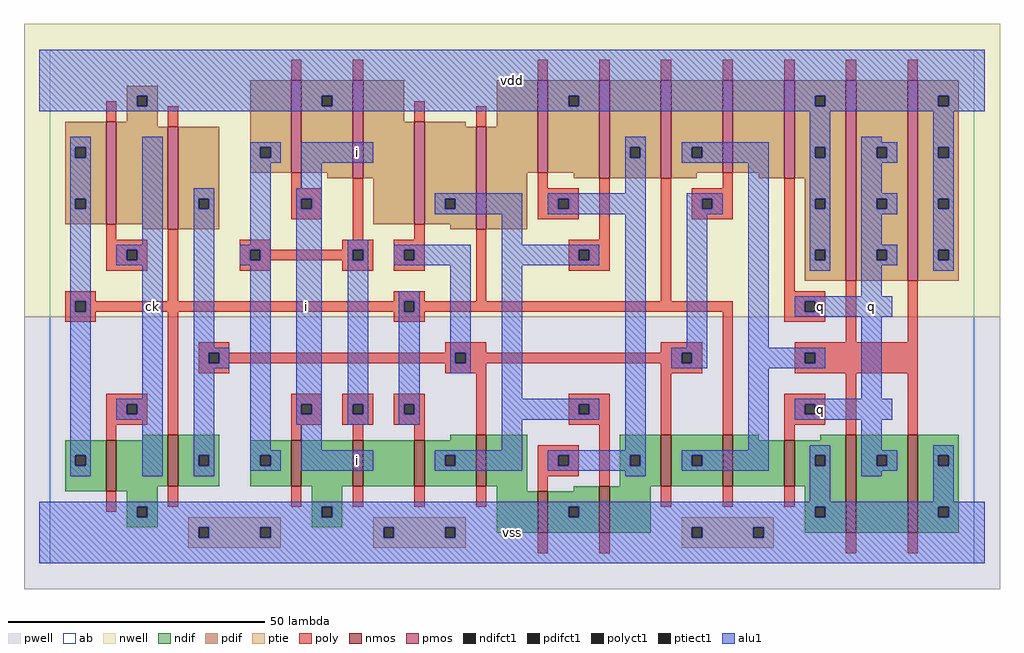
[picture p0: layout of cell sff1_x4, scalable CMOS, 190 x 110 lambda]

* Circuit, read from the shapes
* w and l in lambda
.subckt sff1_x4 ck i q vdd vss
M1 vss ck n1 vss nfet w=10 l=2
M2 n2 n1 vss vss nfet w=10 l=2
M3 vss i n3 vss nfet w=9 l=2
M4 n4 n3 vss vss nfet w=9 l=2
M5 n5 n1 n4 vss nfet w=9 l=2
M6 n6 n2 n5 vss nfet w=10 l=2
M7 vss n7 n6 vss nfet w=8 l=2
M8 n7 n5 vss vss nfet w=9 l=2
M9 n8 n2 n7 vss nfet w=10 l=2
M10 n9 n1 n8 vss nfet w=10 l=2
M11 vss q n9 vss nfet w=9 l=2
M12 q n8 vss vss nfet w=19 l=2 m=2
M13 vdd ck n1 n10 pfet w=20 l=2
M14 n2 n1 vdd n10 pfet w=20 l=2
M15 vdd i n3 n10 pfet w=18 l=2
M16 n11 n3 vdd n10 pfet w=19 l=2
M17 n5 n2 n11 n10 pfet w=20 l=2
M18 n12 n1 n5 n10 pfet w=20 l=2
M19 vdd n7 n12 n10 pfet w=18 l=2
M20 n7 n5 vdd n10 pfet w=19 l=2
M21 n8 n1 n7 n10 pfet w=19 l=2
M22 n13 n2 n8 n10 pfet w=18 l=2
M23 vdd q n13 n10 pfet w=19 l=2
M24 q n8 vdd n10 pfet w=39 l=2 m=2
.ends

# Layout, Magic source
magic
tech scmos
<< ab >>
rect 0 0 180 100
<< nwell >>
rect -5 48 185 105
<< pwell >>
rect -5 -5 185 48
<< poly >>
rect 47 94 49 98
rect 59 94 61 98
rect 95 94 97 98
rect 107 94 109 98
rect 119 94 121 98
rect 131 94 133 98
rect 143 94 145 98
rect 155 94 157 98
rect 167 94 169 98
rect 11 86 13 90
rect 23 85 25 89
rect 11 63 13 66
rect 47 73 49 76
rect 71 86 73 90
rect 47 71 53 73
rect 47 69 49 71
rect 51 69 53 71
rect 47 67 53 69
rect 11 61 19 63
rect 11 59 15 61
rect 17 59 19 61
rect 11 57 19 59
rect 3 51 9 53
rect 23 51 25 65
rect 59 63 61 75
rect 83 85 85 89
rect 71 63 73 66
rect 95 73 97 76
rect 95 71 103 73
rect 95 69 99 71
rect 101 69 103 71
rect 95 67 103 69
rect 37 61 43 63
rect 57 61 63 63
rect 37 59 39 61
rect 41 59 59 61
rect 61 59 63 61
rect 37 57 43 59
rect 57 57 63 59
rect 67 61 73 63
rect 67 59 69 61
rect 71 59 73 61
rect 67 57 73 59
rect 67 51 73 53
rect 83 51 85 65
rect 107 63 109 75
rect 101 61 109 63
rect 101 59 103 61
rect 105 59 109 61
rect 101 57 109 59
rect 119 51 121 75
rect 131 73 133 76
rect 125 71 133 73
rect 125 69 127 71
rect 129 69 133 71
rect 125 67 133 69
rect 143 53 145 75
rect 143 51 151 53
rect 3 49 5 51
rect 7 49 69 51
rect 71 49 133 51
rect 3 47 9 49
rect 11 31 19 33
rect 11 29 15 31
rect 17 29 19 31
rect 11 27 19 29
rect 11 24 13 27
rect 23 25 25 49
rect 67 47 73 49
rect 29 41 35 43
rect 77 41 85 43
rect 119 41 127 43
rect 29 39 31 41
rect 33 39 79 41
rect 81 39 123 41
rect 125 39 127 41
rect 29 37 35 39
rect 77 37 85 39
rect 47 31 53 33
rect 47 29 49 31
rect 51 29 53 31
rect 47 27 53 29
rect 57 31 63 33
rect 57 29 59 31
rect 61 29 63 31
rect 57 27 63 29
rect 67 31 73 33
rect 67 29 69 31
rect 71 29 73 31
rect 67 27 73 29
rect 47 24 49 27
rect 59 24 61 27
rect 71 24 73 27
rect 83 25 85 37
rect 119 37 127 39
rect 101 31 109 33
rect 101 29 103 31
rect 105 29 109 31
rect 101 27 109 29
rect 11 10 13 14
rect 23 11 25 15
rect 47 11 49 15
rect 59 11 61 15
rect 71 11 73 15
rect 83 11 85 15
rect 95 21 103 23
rect 95 19 99 21
rect 101 19 103 21
rect 95 17 103 19
rect 95 14 97 17
rect 107 15 109 27
rect 119 25 121 37
rect 131 25 133 49
rect 143 49 147 51
rect 149 49 151 51
rect 143 47 151 49
rect 155 43 157 55
rect 167 43 169 55
rect 145 41 169 43
rect 145 39 147 41
rect 149 39 169 41
rect 145 37 169 39
rect 143 31 151 33
rect 143 29 147 31
rect 149 29 151 31
rect 143 27 151 29
rect 143 24 145 27
rect 155 25 157 37
rect 167 25 169 37
rect 119 11 121 15
rect 131 11 133 15
rect 143 11 145 15
rect 95 2 97 6
rect 107 2 109 6
rect 155 2 157 6
rect 167 2 169 6
<< ndif >>
rect 18 24 23 25
rect 3 21 11 24
rect 3 19 5 21
rect 7 19 11 21
rect 3 14 11 19
rect 13 15 23 24
rect 25 21 33 25
rect 78 24 83 25
rect 25 19 29 21
rect 31 19 33 21
rect 25 15 33 19
rect 39 21 47 24
rect 39 19 41 21
rect 43 19 47 21
rect 39 15 47 19
rect 49 15 59 24
rect 61 15 71 24
rect 73 21 83 24
rect 73 19 77 21
rect 79 19 83 21
rect 73 15 83 19
rect 85 15 93 25
rect 13 14 21 15
rect 15 11 21 14
rect 51 11 57 15
rect 87 14 93 15
rect 111 21 119 25
rect 111 19 113 21
rect 115 19 119 21
rect 111 15 119 19
rect 121 21 131 25
rect 121 19 125 21
rect 127 19 131 21
rect 121 15 131 19
rect 133 24 138 25
rect 150 24 155 25
rect 133 15 143 24
rect 145 21 155 24
rect 145 19 149 21
rect 151 19 155 21
rect 145 15 155 19
rect 102 14 107 15
rect 15 9 17 11
rect 19 9 21 11
rect 51 9 53 11
rect 55 9 57 11
rect 15 7 21 9
rect 51 7 57 9
rect 87 6 95 14
rect 97 11 107 14
rect 97 9 101 11
rect 103 9 107 11
rect 97 6 107 9
rect 109 6 117 15
rect 147 11 155 15
rect 147 9 149 11
rect 151 9 155 11
rect 147 6 155 9
rect 157 21 167 25
rect 157 19 161 21
rect 163 19 167 21
rect 157 6 167 19
rect 169 21 177 25
rect 169 19 173 21
rect 175 19 177 21
rect 169 11 177 19
rect 169 9 173 11
rect 175 9 177 11
rect 169 6 177 9
<< pdif >>
rect 15 91 21 93
rect 15 89 17 91
rect 19 89 21 91
rect 15 86 21 89
rect 3 81 11 86
rect 3 79 5 81
rect 7 79 11 81
rect 3 71 11 79
rect 3 69 5 71
rect 7 69 11 71
rect 3 66 11 69
rect 13 85 21 86
rect 13 66 23 85
rect 18 65 23 66
rect 25 71 33 85
rect 39 81 47 94
rect 39 79 41 81
rect 43 79 47 81
rect 39 76 47 79
rect 49 91 59 94
rect 49 89 53 91
rect 55 89 59 91
rect 49 76 59 89
rect 25 69 29 71
rect 31 69 33 71
rect 25 65 33 69
rect 54 75 59 76
rect 61 86 69 94
rect 61 75 71 86
rect 63 66 71 75
rect 73 85 81 86
rect 87 85 95 94
rect 73 71 83 85
rect 73 69 77 71
rect 79 69 83 71
rect 73 66 83 69
rect 78 65 83 66
rect 85 76 95 85
rect 97 91 107 94
rect 97 89 101 91
rect 103 89 107 91
rect 97 76 107 89
rect 85 65 93 76
rect 102 75 107 76
rect 109 81 119 94
rect 109 79 113 81
rect 115 79 119 81
rect 109 75 119 79
rect 121 81 131 94
rect 121 79 125 81
rect 127 79 131 81
rect 121 76 131 79
rect 133 76 143 94
rect 121 75 126 76
rect 138 75 143 76
rect 145 91 155 94
rect 145 89 149 91
rect 151 89 155 91
rect 145 81 155 89
rect 145 79 149 81
rect 151 79 155 81
rect 145 75 155 79
rect 147 71 155 75
rect 147 69 149 71
rect 151 69 155 71
rect 147 61 155 69
rect 147 59 149 61
rect 151 59 155 61
rect 147 55 155 59
rect 157 81 167 94
rect 157 79 161 81
rect 163 79 167 81
rect 157 71 167 79
rect 157 69 161 71
rect 163 69 167 71
rect 157 61 167 69
rect 157 59 161 61
rect 163 59 167 61
rect 157 55 167 59
rect 169 91 177 94
rect 169 89 173 91
rect 175 89 177 91
rect 169 81 177 89
rect 169 79 173 81
rect 175 79 177 81
rect 169 71 177 79
rect 169 69 173 71
rect 175 69 177 71
rect 169 61 177 69
rect 169 59 173 61
rect 175 59 177 61
rect 169 55 177 59
<< alu1 >>
rect -2 91 182 100
rect -2 89 17 91
rect 19 89 53 91
rect 55 89 101 91
rect 103 89 149 91
rect 151 89 173 91
rect 175 89 182 91
rect -2 88 182 89
rect 4 81 8 83
rect 4 79 5 81
rect 7 79 8 81
rect 4 71 8 79
rect 4 69 5 71
rect 7 69 8 71
rect 4 51 8 69
rect 18 62 22 83
rect 39 81 45 82
rect 39 79 41 81
rect 43 79 45 81
rect 39 78 45 79
rect 49 78 63 82
rect 112 81 116 83
rect 112 79 113 81
rect 115 79 116 81
rect 13 61 22 62
rect 13 59 15 61
rect 17 59 22 61
rect 13 58 22 59
rect 4 49 5 51
rect 7 49 8 51
rect 4 21 8 49
rect 18 32 22 58
rect 13 31 22 32
rect 13 29 15 31
rect 17 29 22 31
rect 13 28 22 29
rect 4 19 5 21
rect 7 19 8 21
rect 4 17 8 19
rect 18 17 22 28
rect 28 71 32 73
rect 28 69 29 71
rect 31 69 32 71
rect 28 42 32 69
rect 39 62 43 78
rect 49 73 53 78
rect 37 61 43 62
rect 37 59 39 61
rect 41 59 43 61
rect 37 58 43 59
rect 28 41 35 42
rect 28 39 31 41
rect 33 39 35 41
rect 28 38 35 39
rect 28 21 32 38
rect 28 19 29 21
rect 31 19 32 21
rect 28 17 32 19
rect 39 22 43 58
rect 48 71 53 73
rect 112 72 116 79
rect 123 81 140 82
rect 123 79 125 81
rect 127 79 140 81
rect 123 78 140 79
rect 48 69 49 71
rect 51 69 53 71
rect 48 31 53 69
rect 75 71 92 72
rect 75 69 77 71
rect 79 69 92 71
rect 75 68 92 69
rect 97 71 116 72
rect 97 69 99 71
rect 101 69 116 71
rect 97 68 116 69
rect 48 29 49 31
rect 51 29 53 31
rect 48 27 53 29
rect 58 61 62 63
rect 88 62 92 68
rect 58 59 59 61
rect 61 59 62 61
rect 58 31 62 59
rect 67 61 82 62
rect 67 59 69 61
rect 71 59 82 61
rect 67 58 82 59
rect 58 29 59 31
rect 61 29 62 31
rect 58 27 62 29
rect 68 51 72 53
rect 68 49 69 51
rect 71 49 72 51
rect 68 31 72 49
rect 78 41 82 58
rect 78 39 79 41
rect 81 39 82 41
rect 78 37 82 39
rect 88 61 107 62
rect 88 59 103 61
rect 105 59 107 61
rect 88 58 107 59
rect 68 29 69 31
rect 71 29 72 31
rect 68 27 72 29
rect 88 32 92 58
rect 88 31 107 32
rect 88 29 103 31
rect 105 29 107 31
rect 88 28 107 29
rect 49 22 53 27
rect 88 22 92 28
rect 112 22 116 68
rect 124 71 131 72
rect 124 69 127 71
rect 129 69 131 71
rect 124 68 131 69
rect 124 42 128 68
rect 121 41 128 42
rect 121 39 123 41
rect 125 39 128 41
rect 121 38 128 39
rect 136 42 140 78
rect 148 81 152 88
rect 148 79 149 81
rect 151 79 152 81
rect 148 71 152 79
rect 148 69 149 71
rect 151 69 152 71
rect 148 61 152 69
rect 148 59 149 61
rect 151 59 152 61
rect 148 57 152 59
rect 158 82 162 83
rect 158 81 165 82
rect 158 79 161 81
rect 163 79 165 81
rect 158 78 165 79
rect 172 81 176 88
rect 172 79 173 81
rect 175 79 176 81
rect 158 72 162 78
rect 158 71 165 72
rect 158 69 161 71
rect 163 69 165 71
rect 158 68 165 69
rect 172 71 176 79
rect 172 69 173 71
rect 175 69 176 71
rect 158 62 162 68
rect 158 61 165 62
rect 158 59 161 61
rect 163 59 165 61
rect 158 58 165 59
rect 172 61 176 69
rect 172 59 173 61
rect 175 59 176 61
rect 158 52 162 58
rect 172 57 176 59
rect 145 51 164 52
rect 145 49 147 51
rect 149 49 164 51
rect 145 48 164 49
rect 136 41 151 42
rect 136 39 147 41
rect 149 39 151 41
rect 136 38 151 39
rect 136 22 140 38
rect 158 32 162 48
rect 145 31 164 32
rect 145 29 147 31
rect 149 29 164 31
rect 145 28 164 29
rect 39 21 45 22
rect 39 19 41 21
rect 43 19 45 21
rect 39 18 45 19
rect 49 18 63 22
rect 75 21 92 22
rect 75 19 77 21
rect 79 19 92 21
rect 75 18 92 19
rect 97 21 116 22
rect 97 19 99 21
rect 101 19 113 21
rect 115 19 116 21
rect 97 18 116 19
rect 123 21 140 22
rect 123 19 125 21
rect 127 19 140 21
rect 123 18 140 19
rect 148 21 152 23
rect 148 19 149 21
rect 151 19 152 21
rect 112 17 116 18
rect 148 12 152 19
rect 158 22 162 28
rect 158 21 165 22
rect 158 19 161 21
rect 163 19 165 21
rect 158 18 165 19
rect 172 21 176 23
rect 172 19 173 21
rect 175 19 176 21
rect 158 17 162 18
rect 172 12 176 19
rect -2 11 182 12
rect -2 9 17 11
rect 19 9 53 11
rect 55 9 101 11
rect 103 9 149 11
rect 151 9 173 11
rect 175 9 182 11
rect -2 7 182 9
rect -2 5 29 7
rect 31 5 41 7
rect 43 5 65 7
rect 67 5 77 7
rect 79 5 125 7
rect 127 5 137 7
rect 139 5 182 7
rect -2 0 182 5
<< ptie >>
rect 27 7 45 9
rect 63 7 81 9
rect 27 5 29 7
rect 31 5 41 7
rect 43 5 45 7
rect 27 3 45 5
rect 63 5 65 7
rect 67 5 77 7
rect 79 5 81 7
rect 123 7 141 9
rect 63 3 81 5
rect 123 5 125 7
rect 127 5 137 7
rect 139 5 141 7
rect 123 3 141 5
<< nmos >>
rect 11 14 13 24
rect 23 15 25 25
rect 47 15 49 24
rect 59 15 61 24
rect 71 15 73 24
rect 83 15 85 25
rect 119 15 121 25
rect 131 15 133 25
rect 143 15 145 24
rect 95 6 97 14
rect 107 6 109 15
rect 155 6 157 25
rect 167 6 169 25
<< pmos >>
rect 11 66 13 86
rect 23 65 25 85
rect 47 76 49 94
rect 59 75 61 94
rect 71 66 73 86
rect 83 65 85 85
rect 95 76 97 94
rect 107 75 109 94
rect 119 75 121 94
rect 131 76 133 94
rect 143 75 145 94
rect 155 55 157 94
rect 167 55 169 94
<< polyct1 >>
rect 49 69 51 71
rect 15 59 17 61
rect 99 69 101 71
rect 39 59 41 61
rect 59 59 61 61
rect 69 59 71 61
rect 103 59 105 61
rect 127 69 129 71
rect 5 49 7 51
rect 69 49 71 51
rect 15 29 17 31
rect 31 39 33 41
rect 79 39 81 41
rect 123 39 125 41
rect 49 29 51 31
rect 59 29 61 31
rect 69 29 71 31
rect 103 29 105 31
rect 99 19 101 21
rect 147 49 149 51
rect 147 39 149 41
rect 147 29 149 31
<< ndifct1 >>
rect 5 19 7 21
rect 29 19 31 21
rect 41 19 43 21
rect 77 19 79 21
rect 113 19 115 21
rect 125 19 127 21
rect 149 19 151 21
rect 17 9 19 11
rect 53 9 55 11
rect 101 9 103 11
rect 149 9 151 11
rect 161 19 163 21
rect 173 19 175 21
rect 173 9 175 11
<< ptiect1 >>
rect 29 5 31 7
rect 41 5 43 7
rect 65 5 67 7
rect 77 5 79 7
rect 125 5 127 7
rect 137 5 139 7
<< pdifct1 >>
rect 17 89 19 91
rect 5 79 7 81
rect 5 69 7 71
rect 41 79 43 81
rect 53 89 55 91
rect 29 69 31 71
rect 77 69 79 71
rect 101 89 103 91
rect 113 79 115 81
rect 125 79 127 81
rect 149 89 151 91
rect 149 79 151 81
rect 149 69 151 71
rect 149 59 151 61
rect 161 79 163 81
rect 161 69 163 71
rect 161 59 163 61
rect 173 89 175 91
rect 173 79 175 81
rect 173 69 175 71
rect 173 59 175 61
<< labels >>
rlabel alu1 20 50 20 50 6 ck
rlabel alu1 60 20 60 20 6 i
rlabel alu1 50 50 50 50 6 i
rlabel alu1 60 80 60 80 6 i
rlabel alu1 90 6 90 6 6 vss
rlabel alu1 90 94 90 94 6 vdd
rlabel alu1 150 30 150 30 6 q
rlabel alu1 160 50 160 50 6 q
rlabel alu1 150 50 150 50 6 q
<< end >>
